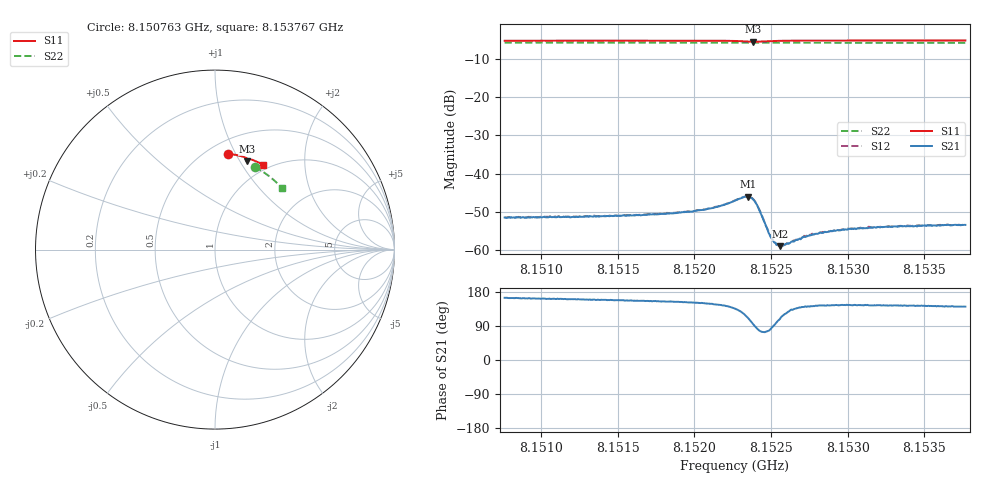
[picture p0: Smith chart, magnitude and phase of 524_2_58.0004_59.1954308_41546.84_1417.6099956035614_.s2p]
#  HZ  S  RI  R  50.00
! Rohde & Schwarz Vector Network Analyzer
! Rohde-Schwarz,ZNB20-2Port,1311601062101988,3.16
! Created: UTC 3/21/2024, 1:13:49 AM
! freq[Hz]  re:S11  im:S11  re:S21  im:S21  re:S12  im:S12  re:S22  im:S22
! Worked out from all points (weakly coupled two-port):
!   401 points, 8.150763 GHz to 8.153767 GHz, reference 50 ohm
!   highest |S21| = -45.95 dB at 8.152348 GHz (marker M1); lowest = -58.9 dB at 8.152558 GHz (marker M2)
!   lowest |S11| = -5.6 dB at 8.152385 GHz (marker M3), VSWR 3.19, Z = 39.6 + j53.6 ohm
!   |S11| at or under -10 dB: nowhere
!   |S22| runs from -5.9 to -5.8 dB; largest |S21 - S12| = 0.00011
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8.1507632e9  0.0749 0.5338  -0.00259 0.000734  -0.00257 0.000787  0.2209 0.4601
8.1512663e9  0.1099 0.5286  -0.00257 0.000953  -0.00258 0.000995  0.2493 0.4446
8.1517694e9  0.1449 0.5207  -0.00268 0.00126  -0.00269 0.00127  0.2766 0.4273
8.1519797e9  0.1599 0.5162  -0.00282 0.00152  -0.00281 0.00156  0.2877 0.4194
8.1520773e9  0.1673 0.5136  -0.00295 0.00177  -0.00293 0.00181  0.2926 0.4159
8.1521824e9  0.1755 0.5096  -0.00314 0.00226  -0.00312 0.0023  0.2979 0.4117
8.152265e9  0.1821 0.5039  -0.00319 0.00312  -0.00317 0.00319  0.3021 0.4084
8.1523476e9  0.1829 0.4935  -0.00188 0.00468  -0.00182 0.00469  0.306 0.405
8.1523851e9  0.1779 0.4917  -0.000289 0.00456  -0.000241 0.00463  0.3076 0.4035
8.1524002e9  0.1758 0.4928  0.00027 0.00414  0.00031 0.0042  0.3081 0.403
8.1524227e9  0.1744 0.4958  0.000717 0.00332  0.000758 0.00335  0.3092 0.4023
8.1524828e9  0.1782 0.5026  0.000388 0.00167  0.000415 0.00173  0.3124 0.4002
8.1525053e9  0.1806 0.5037  0.00011 0.00141  0.000129 0.00144  0.3134 0.3992
8.1525278e9  0.1831 0.5044  -0.000119 0.00126  -0.000114 0.00125  0.3146 0.3985
8.1525578e9  0.1862 0.5046  -0.000353 0.00108  -0.000378 0.00112  0.3163 0.3971
8.1525804e9  0.1883 0.5046  -0.000547 0.00102  -0.00053 0.00102  0.3172 0.3964
8.1527155e9  0.2 0.5025  -0.00115 0.000965  -0.00118 0.00101  0.3242 0.3907
8.1527681e9  0.2041 0.5013  -0.00126 0.000985  -0.0013 0.00103  0.3265 0.3885
8.1529183e9  0.2147 0.4975  -0.00148 0.00103  -0.00145 0.00108  0.3337 0.3821
8.1531285e9  0.2288 0.4917  -0.0016 0.0011  -0.0016 0.00116  0.3433 0.373
8.1532712e9  0.2381 0.4878  -0.00165 0.0012  -0.00164 0.00124  0.3499 0.3667
8.1537668e9  0.2691 0.4723  -0.00167 0.00136  -0.00166 0.0014  0.3713 0.3439
